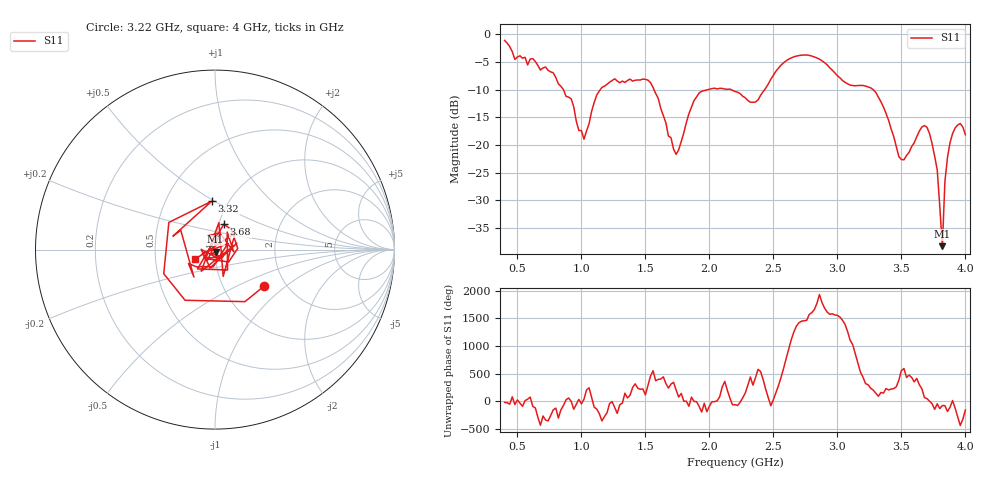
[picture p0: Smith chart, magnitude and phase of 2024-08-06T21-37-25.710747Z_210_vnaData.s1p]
!Created with skrf (http://scikit-rf.org).
# Hz S RI R 50.0
!freq ReS11 ImS11
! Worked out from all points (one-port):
!   181 points, 400 MHz to 4 GHz, reference 50 ohm
!   lowest |S11| = -38.2 dB at 3.82 GHz (marker M1), VSWR 1.02, Z = 50.3 - j1.18 ohm
!   |S11| at or under -10 dB: 859.7 MHz to 1.148 GHz (288.1 MHz wide, 28.7 % of centre); 1.567 GHz to 1.991 GHz (423.5 MHz wide, 23.8 % of centre); 3.279 GHz to end of sweep (the widest 3 of 4)
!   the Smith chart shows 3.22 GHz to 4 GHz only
!   S11 on the Smith chart (normalised r, x): 3.22 GHz: 1.55, -0.72; 3.32 GHz: 0.84, +0.49; 3.68 GHz: 1.06, +0.31; 4 GHz: 0.79, -0.09
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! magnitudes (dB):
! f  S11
! 400 MHz  -1.1
! 480 MHz  -4.6
! 620 MHz  -4.4
! 860 MHz  -10.0
! 1.02 GHz  -18.9
! 1.12 GHz  -11.0
! 1.3 GHz  -8.8
! 1.54 GHz  -8.7
! 1.72 GHz  -20.8
! 1.76 GHz  -20.9
! 1.92 GHz  -10.6
! 2.2 GHz  -10.3
! 2.36 GHz  -12.2
! 2.66 GHz  -4.1
! 2.86 GHz  -4.5
! 3.1 GHz  -9.2
! 3.22 GHz  -9.4
! 3.32 GHz  -11.3
! 3.48 GHz  -22.1
! 3.56 GHz  -21.3
! 3.68 GHz  -16.5
! 3.72 GHz  -17.9
! 3.78 GHz  -24.5
! 3.82 GHz  -38.2
! 3.84 GHz  -26.6
! 3.88 GHz  -19.6
! 3.96 GHz  -16.1
! 4 GHz  -18.1
